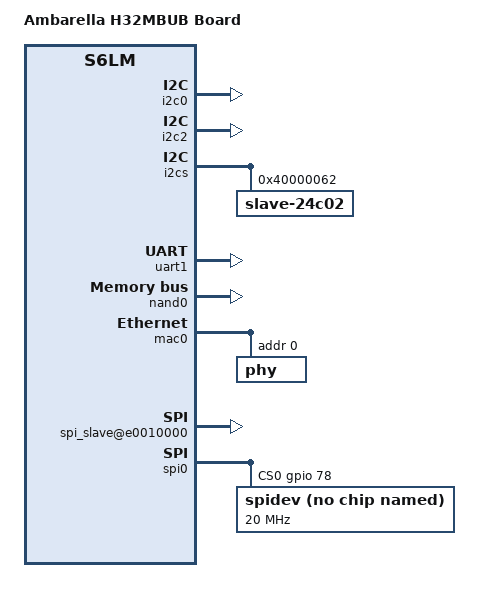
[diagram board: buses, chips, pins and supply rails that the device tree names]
/*
 * board level device tree source
 */

/dts-v1/;

/include/ "h32.dtsi"

/ {
	model = "Ambarella H32MBUB Board";
	compatible = "ambarella,h32mbub", "ambarella,s6lm";

	chosen {
		stdout-path = &uart0;
		#address-cells = <1>;
		#size-cells = <1>;
		xen,xen-bootargs = "dom0_mem=256M bootscrub=0 dom0_max_vcpus=1 dom0_vcpus_pin timer_slop=0";
		module@0 {
			 compatible = "xen,linux-zimage", "xen,multiboot-module";
			 reg = <0x0 0x0>;
			 bootargs = "root=/dev/mtdblock21 rootfstype=squashfs rdinit=/sbin/init console=hvc0 earlycon=xenboot quiet";
		};

		domu_tx {
			#address-cells = <1>;
			#size-cells = <1>;
			compatible = "xen,domain";
			memory = <0x0 0x0>;
			cpus = <1>;

			module@0 {
				compatible = "multiboot,kernel", "multiboot,module";
				reg = <0x0 0x0>;
			};
		};

	};

	n_apb@e4000000 {
		i2c0: i2c@e4008000 {
			status = "ok";
		};

		i2c2: i2c@e400a000 {
			status = "ok";
			pinctrl-0 = <&i2c2_pins_c>;
		};

		i2cs: i2cs@e4007000 {
			status = "ok";
			slave-24c02@62{
				compatible = "slave-24c02";
				reg = <0x40000062>;
			};
		};
	};

	n_ahb@e0000000 {
		uart1: uart@e0017000 {
			/delete-property/amb,txdma-used;
			/delete-property/amb,rxdma-used;
			/delete-property/dmas;
			/delete-property/dma-names;
			status = "ok";
		};

		nand0: nand@e0002000 {
			status = "ok";
		};

		sdmmc0: sdmmc0@e0004000 {
			pwr-gpios = <&gpio 63 0x1>;
			v18-gpios = <&gpio 85 0x1>;
		};

		mac0: ethernet@e000e000 {
			amb,tx-clk-invert;
			phy@0 {
				reg = <0>;
			};
		};

		spi_slave@e0010000 {
			status = "ok";
		};

		spi0: spi@e0011000 {
			/delete-property/pinctrl-0;
			status = "ok";
			cs-gpios = <&gpio 78 0>;

			spidev@0 {
					compatible = "ambarella,spidev";
					spi-max-frequency = <20000000>;
					reg = <0>;
					/*spi-cpha;*/
					/*spi-cpol;*/
			};
		};
	};

	rct@ed080000 {
		usbphy: usbphy@ed080050 {
			pinctrl-names = "default";
		};
	};
};
